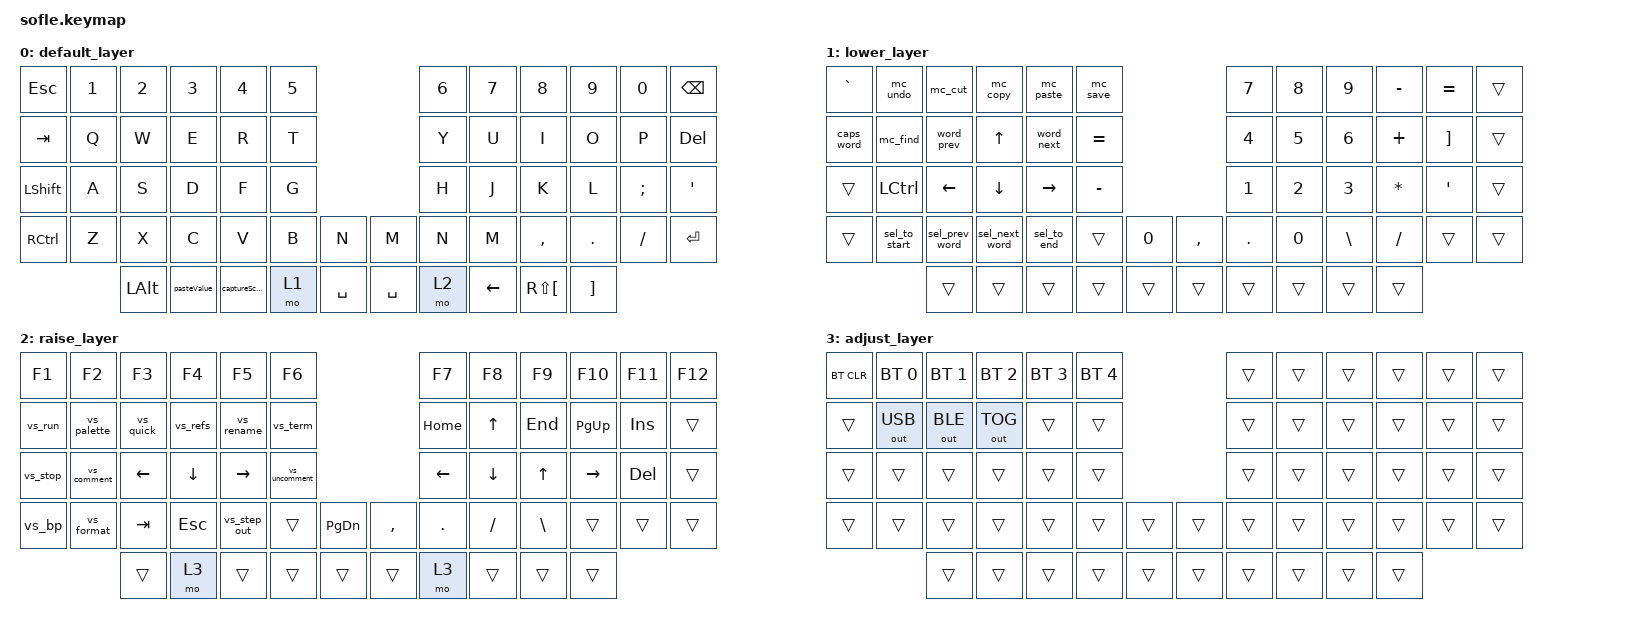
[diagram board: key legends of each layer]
#include <behaviors.dtsi>
#include <dt-bindings/zmk/bt.h>
#include <dt-bindings/zmk/keys.h>
#include <dt-bindings/zmk/outputs.h>

/ {
    macros {
        word_prev: word_prev {
            compatible = "zmk,behavior-macro";
            #binding-cells = <0>;
            bindings =
                <&macro_press>,
                <&kp LCTRL>,
                <&macro_tap>,
                <&kp LEFT>,
                <&macro_release>,
                <&kp LCTRL>;
        };

        word_next: word_next {
            compatible = "zmk,behavior-macro";
            #binding-cells = <0>;
            bindings =
                <&macro_press>,
                <&kp LCTRL>,
                <&macro_tap>,
                <&kp RIGHT>,
                <&macro_release>,
                <&kp LCTRL>;
        };

        sel_prev_word: sel_prev_word {
            compatible = "zmk,behavior-macro";
            #binding-cells = <0>;
            bindings =
                <&macro_press>,
                <&kp LCTRL &kp LSHFT>,
                <&macro_tap>,
                <&kp LEFT>,
                <&macro_release>,
                <&kp LCTRL &kp LSHFT>;
        };

        sel_next_word: sel_next_word {
            compatible = "zmk,behavior-macro";
            #binding-cells = <0>;
            bindings =
                <&macro_press>,
                <&kp LCTRL &kp LSHFT>,
                <&macro_tap>,
                <&kp RIGHT>,
                <&macro_release>,
                <&kp LCTRL &kp LSHFT>;
        };

        sel_to_start: sel_to_start {
            compatible = "zmk,behavior-macro";
            #binding-cells = <0>;
            bindings =
                <&macro_press>,
                <&kp LCTRL &kp LSHFT>,
                <&macro_tap>,
                <&kp HOME>,
                <&macro_release>,
                <&kp LCTRL &kp LSHFT>;
        };

        sel_to_end: sel_to_end {
            compatible = "zmk,behavior-macro";
            #binding-cells = <0>;
            bindings =
                <&macro_press>,
                <&kp LCTRL &kp LSHFT>,
                <&macro_tap>,
                <&kp END>,
                <&macro_release>,
                <&kp LCTRL &kp LSHFT>;
        };

        mc_copy: mc_copy {
            compatible = "zmk,behavior-macro";
            #binding-cells = <0>;
            bindings =
                <&macro_press>,
                <&kp LCTRL>,
                <&macro_tap>,
                <&kp C>,
                <&macro_release>,
                <&kp LCTRL>;
        };

        mc_paste: mc_paste {
            compatible = "zmk,behavior-macro";
            #binding-cells = <0>;
            bindings =
                <&macro_press>,
                <&kp LCTRL>,
                <&macro_tap>,
                <&kp V>,
                <&macro_release>,
                <&kp LCTRL>;
        };

        mc_cut: mc_cut {
            compatible = "zmk,behavior-macro";
            #binding-cells = <0>;
            bindings =
                <&macro_press>,
                <&kp LCTRL>,
                <&macro_tap>,
                <&kp X>,
                <&macro_release>,
                <&kp LCTRL>;
        };

        mc_undo: mc_undo {
            compatible = "zmk,behavior-macro";
            #binding-cells = <0>;
            bindings =
                <&macro_press>,
                <&kp LCTRL>,
                <&macro_tap>,
                <&kp Z>,
                <&macro_release>,
                <&kp LCTRL>;
        };

        mc_redo: mc_redo {
            compatible = "zmk,behavior-macro";
            #binding-cells = <0>;
            bindings =
                <&macro_press>,
                <&kp LCTRL>,
                <&macro_tap>,
                <&kp Y>,
                <&macro_release>,
                <&kp LCTRL>;
        };

        mc_save: mc_save {
            compatible = "zmk,behavior-macro";
            #binding-cells = <0>;
            bindings =
                <&macro_press>,
                <&kp LCTRL>,
                <&macro_tap>,
                <&kp S>,
                <&macro_release>,
                <&kp LCTRL>;
        };

        mc_find: mc_find {
            compatible = "zmk,behavior-macro";
            #binding-cells = <0>;
            bindings =
                <&macro_press>,
                <&kp LCTRL>,
                <&macro_tap>,
                <&kp F>,
                <&macro_release>,
                <&kp LCTRL>;
        };

        mc_select_all: mc_select_all {
            compatible = "zmk,behavior-macro";
            #binding-cells = <0>;
            bindings =
                <&macro_press>,
                <&kp LCTRL>,
                <&macro_tap>,
                <&kp A>,
                <&macro_release>,
                <&kp LCTRL>;
        };

        vs_palette: vs_palette {
            compatible = "zmk,behavior-macro";
            #binding-cells = <0>;
            bindings =
                <&macro_press>,
                <&kp LCTRL &kp LSHFT>,
                <&macro_tap>,
                <&kp P>,
                <&macro_release>,
                <&kp LCTRL &kp LSHFT>;
        };

        vs_comment: vs_comment {
            compatible = "zmk,behavior-macro";
            #binding-cells = <0>;
            bindings =
                <&macro_press>,
                <&kp LCTRL>,
                <&macro_tap>,
                <&kp K>,
                <&macro_release>,
                <&kp LCTRL>,
                <&macro_press>,
                <&kp LCTRL>,
                <&macro_tap>,
                <&kp C>,
                <&macro_release>,
                <&kp LCTRL>;
        };

        vs_uncomment: vs_uncomment {
            compatible = "zmk,behavior-macro";
            #binding-cells = <0>;
            bindings =
                <&macro_press>,
                <&kp LCTRL>,
                <&macro_tap>,
                <&kp K>,
                <&macro_release>,
                <&kp LCTRL>,
                <&macro_press>,
                <&kp LCTRL>,
                <&macro_tap>,
                <&kp U>,
                <&macro_release>,
                <&kp LCTRL>;
        };

        vs_format: vs_format {
            compatible = "zmk,behavior-macro";
            #binding-cells = <0>;
            bindings =
                <&macro_press>,
                <&kp LCTRL>,
                <&macro_tap>,
                <&kp K>,
                <&macro_release>,
                <&kp LCTRL>,
                <&macro_press>,
                <&kp LCTRL>,
                <&macro_tap>,
                <&kp D>,
                <&macro_release>,
                <&kp LCTRL>;
        };

        vs_run: vs_run {
            compatible = "zmk,behavior-macro";
            #binding-cells = <0>;
            bindings =
                <&macro_press>,
                <&kp LCTRL>,
                <&macro_tap>,
                <&kp F5>,
                <&macro_release>,
                <&kp LCTRL>;
        };

        vs_stop: vs_stop {
            compatible = "zmk,behavior-macro";
            #binding-cells = <0>;
            bindings =
                <&macro_press>,
                <&kp LSHFT>,
                <&macro_tap>,
                <&kp F5>,
                <&macro_release>,
                <&kp LSHFT>;
        };

        vs_term: vs_term {
            compatible = "zmk,behavior-macro";
            #binding-cells = <0>;
            bindings =
                <&macro_press>,
                <&kp LCTRL>,
                <&macro_tap>,
                <&kp GRAVE>,
                <&macro_release>,
                <&kp LCTRL>;
        };

        vs_quick: vs_quick {
            compatible = "zmk,behavior-macro";
            #binding-cells = <0>;
            bindings =
                <&macro_press>,
                <&kp LCTRL>,
                <&macro_tap>,
                <&kp DOT>,
                <&macro_release>,
                <&kp LCTRL>;
        };

        vs_refs: vs_refs {
            compatible = "zmk,behavior-macro";
            #binding-cells = <0>;
            bindings =
                <&macro_press>,
                <&kp LSHFT>,
                <&macro_tap>,
                <&kp F12>,
                <&macro_release>,
                <&kp LSHFT>;
        };

        vs_rename: vs_rename {
            compatible = "zmk,behavior-macro";
            #binding-cells = <0>;
            bindings = <&macro_tap>, <&kp F2>;
        };

        vs_bp: vs_bp {
            compatible = "zmk,behavior-macro";
            #binding-cells = <0>;
            bindings = <&macro_tap>, <&kp F9>;
        };

        vs_step_into: vs_step_into {
            compatible = "zmk,behavior-macro";
            #binding-cells = <0>;
            bindings = <&macro_tap>, <&kp F11>;
        };

        vs_step_over: vs_step_over {
            compatible = "zmk,behavior-macro";
            #binding-cells = <0>;
            bindings = <&macro_tap>, <&kp F10>;
        };

        vs_step_out: vs_step_out {
            compatible = "zmk,behavior-macro";
            #binding-cells = <0>;
            bindings =
                <&macro_press>,
                <&kp LSHFT>,
                <&macro_tap>,
                <&kp F11>,
                <&macro_release>,
                <&kp LSHFT>;
        };

        captureScreen: captureScreen {
            compatible = "zmk,behavior-macro";
            #binding-cells = <0>;
            bindings =
                <&macro_press>,
                <&kp LEFT_GUI &kp LEFT_SHIFT>,
                <&macro_tap>,
                <&kp S>,
                <&macro_release>,
                <&kp LMETA &kp LEFT_SHIFT>;

            label = "CAPTURESCREEN";
        };

        pasteValue: pasteValue {
            compatible = "zmk,behavior-macro";
            #binding-cells = <0>;
            bindings =
                <&macro_press>,
                <&kp RCTRL &kp LEFT_SHIFT>,
                <&macro_tap>,
                <&kp V>,
                <&macro_release>,
                <&kp RCTRL &kp LEFT_SHIFT>;

            label = "PASTEVALUE";
        };
    };
};

/ {
    keymap {
        compatible = "zmk,keymap";

        default_layer {
            bindings = <
&kp ESC         &kp N1  &kp N2        &kp N3       &kp N4          &kp N5                          &kp N6  &kp N7    &kp N8                &kp N9             &kp N0     &kp BSPC
&kp TAB         &kp Q   &kp W         &kp E        &kp R           &kp T                           &kp Y   &kp U     &kp I                 &kp O              &kp P      &kp DELETE
&kp LEFT_SHIFT  &kp A   &kp S         &kp D        &kp F           &kp G                           &kp H   &kp J     &kp K                 &kp L              &kp SEMI   &kp SQT
&kp RCTRL       &kp Z   &kp X         &kp C        &kp V           &kp B   &kp N        &kp M      &kp N   &kp M     &kp COMMA             &kp PERIOD         &kp SLASH  &kp ENTER
                        &kp LEFT_ALT  &pasteValue  &captureScreen  &mo 1   &kp SPACE    &kp SPACE  &mo 2   &kp LEFT  &kp RS(LEFT_BRACKET)  &kp RIGHT_BRACKET
            >;
        };

        lower_layer {
            bindings = <
&kp GRAVE   &mc_undo       &mc_cut         &mc_copy        &mc_paste    &mc_save                        &kp N7   &kp N8        &kp N9    &kp MINUS     &kp EQUAL  &trans
&caps_word  &mc_find       &word_prev      &kp UP          &word_next   &kp EQUAL                       &kp N4   &kp N5        &kp N6    &kp PLUS      &kp RBKT   &trans
&trans      &kp LCTRL      &kp LEFT        &kp DOWN        &kp RIGHT    &kp MINUS                       &kp N1   &kp N2        &kp N3    &kp ASTERISK  &kp SQT    &trans
&trans      &sel_to_start  &sel_prev_word  &sel_next_word  &sel_to_end  &trans     &kp N0    &kp COMMA  &kp DOT  &kp NUMBER_0  &kp BSLH  &kp SLASH     &trans     &trans
                           &trans          &trans          &trans       &trans     &trans    &trans     &trans   &trans        &trans    &trans
            >;
        };

        raise_layer {
            bindings = <
&kp F1    &kp F2       &kp F3     &kp F4    &kp F5        &kp F6                                 &kp F7    &kp F8    &kp F9    &kp F10    &kp F11  &kp F12
&vs_run   &vs_palette  &vs_quick  &vs_refs  &vs_rename    &vs_term                               &kp HOME  &kp UP    &kp END   &kp PG_UP  &kp INS  &trans
&vs_stop  &vs_comment  &kp LEFT   &kp DOWN  &kp RIGHT     &vs_uncomment                          &kp LEFT  &kp DOWN  &kp UP    &kp RIGHT  &kp DEL  &trans
&vs_bp    &vs_format   &kp TAB    &kp ESC   &vs_step_out  &trans         &kp PG_DN    &kp COMMA  &kp DOT   &kp FSLH  &kp BSLH  &trans     &trans   &trans
                       &trans     &mo 3     &trans        &trans         &trans       &trans     &mo 3     &trans    &trans    &trans
            >;
        };

        adjust_layer {
            bindings = <
&bt BT_CLR  &bt BT_SEL 0  &bt BT_SEL 1  &bt BT_SEL 2  &bt BT_SEL 3  &bt BT_SEL 4                    &trans  &trans  &trans  &trans  &trans  &trans
&trans      &out OUT_USB  &out OUT_BLE  &out OUT_TOG  &trans        &trans                          &trans  &trans  &trans  &trans  &trans  &trans
&trans      &trans        &trans        &trans        &trans        &trans                          &trans  &trans  &trans  &trans  &trans  &trans
&trans      &trans        &trans        &trans        &trans        &trans        &trans    &trans  &trans  &trans  &trans  &trans  &trans  &trans
                          &trans        &trans        &trans        &trans        &trans    &trans  &trans  &trans  &trans  &trans
            >;
        };
    };
};
